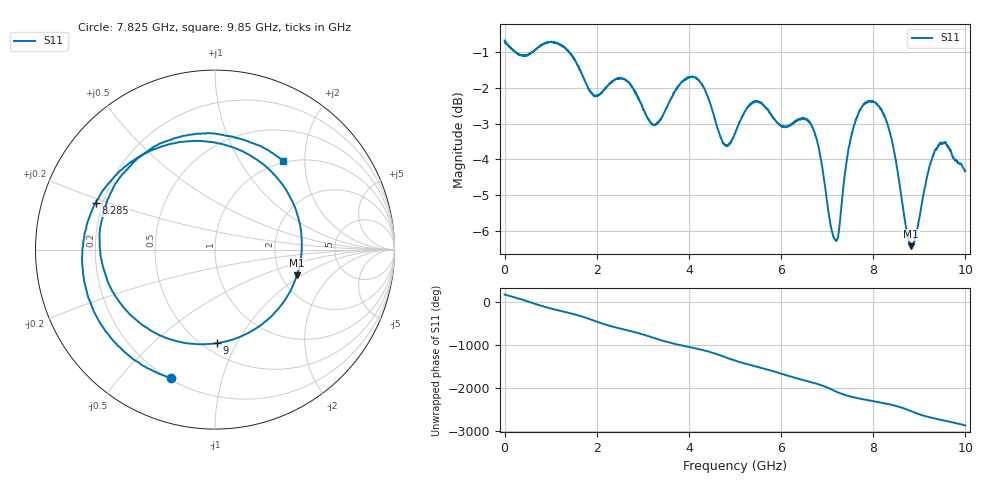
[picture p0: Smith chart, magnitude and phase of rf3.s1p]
!Keysight Technologies,M9375A,MY54321142,A.14.10.03
!Date: Thursday, September 11, 2025 11:50:06
!Correction: S11(C  2-Port  )
!S1P File: Measurement: :
# Hz S  dB  R 50
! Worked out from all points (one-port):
!   2001 points, 1 MHz to 10 GHz, reference 50 ohm
!   lowest |S11| = -6.4 dB at 8.825 GHz (marker M1), VSWR 2.82, Z = 122 - j45 ohm
!   |S11| at or under -10 dB: nowhere
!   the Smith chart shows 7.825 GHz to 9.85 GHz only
!   S11 on the Smith chart (normalised r, x): 7.825 GHz: 0.21, -0.70; 8.285 GHz: 0.17, +0.18; 9 GHz: 0.58, -0.83; 9.85 GHz: 0.97, +1.57
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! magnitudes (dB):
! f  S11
! 1 MHz  -0.7
! 416 MHz  -1.1
! 1.251 GHz  -0.8
! 1.941 GHz  -2.2
! 2.501 GHz  -1.7
! 3.246 GHz  -3.0
! 3.751 GHz  -2.0
! 4.176 GHz  -1.7
! 4.761 GHz  -3.6
! 5 GHz  -3.3
! 5.435 GHz  -2.4
! 6.25 GHz  -3.0
! 6.715 GHz  -3.2
! 6.855 GHz  -3.9
! 7.08 GHz  -5.9
! 7.18 GHz  -6.3
! 7.25 GHz  -6.1
! 7.5 GHz  -3.5
! 7.825 GHz  -2.4
! 8.285 GHz  -2.9
! 8.465 GHz  -3.9
! 8.75 GHz  -6.2
! 8.825 GHz  -6.4
! 9 GHz  -5.7
! 9.205 GHz  -4.3
! 9.4 GHz  -3.7
! 9.85 GHz  -4.1
! 10 GHz  -4.3
